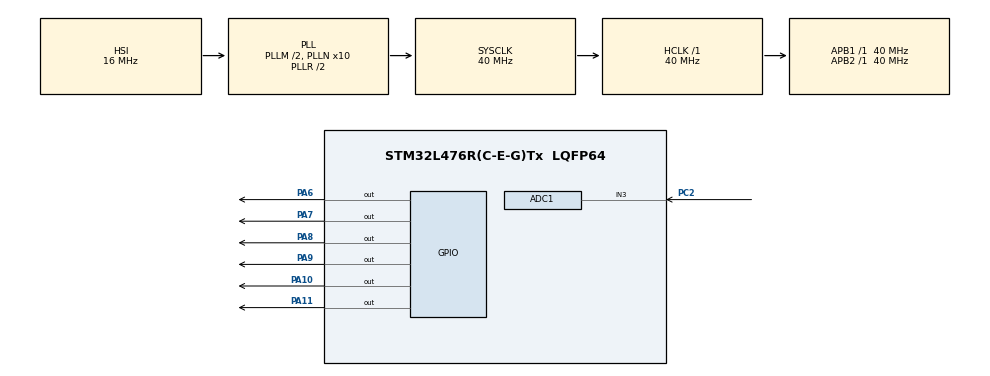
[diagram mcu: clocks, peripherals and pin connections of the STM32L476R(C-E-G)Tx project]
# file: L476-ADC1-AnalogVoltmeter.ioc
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ADC1.Channel-0\#ChannelRegularConversion=ADC_CHANNEL_3
ADC1.ContinuousConvMode=ENABLE
ADC1.EOCSelection=ADC_EOC_SEQ_CONV
ADC1.NbrOfConversionFlag=1
ADC1.OffsetNumber-0\#ChannelRegularConversion=ADC_OFFSET_NONE
ADC1.Overrun=ADC_OVR_DATA_OVERWRITTEN
ADC1.Rank-0\#ChannelRegularConversion=1
ADC1.SamplingTime-0\#ChannelRegularConversion=ADC_SAMPLETIME_2CYCLES_5
ADC1.master=1
Mcu.Family=STM32L4
Mcu.Name=STM32L476R(C-E-G)Tx
Mcu.Package=LQFP64
NVIC.PriorityGroup=NVIC_PRIORITYGROUP_4
PA10.Signal=GPIO_Output
PA11.Signal=GPIO_Output
PA6.Signal=GPIO_Output
PA7.Signal=GPIO_Output
PA8.Signal=GPIO_Output
PA9.Signal=GPIO_Output
PC2.Signal=ADCx_IN3
ProjectManager.HeapSize=0x200
ProjectManager.StackSize=0x400
ProjectManager.TargetToolchain=STM32CubeIDE
RCC.ADCFreq_Value=32000000
RCC.AHBFreq_Value=40000000
RCC.APB1Freq_Value=40000000
RCC.APB1TimFreq_Value=40000000
RCC.APB2Freq_Value=40000000
RCC.APB2TimFreq_Value=40000000
RCC.CortexFreq_Value=40000000
RCC.HCLKFreq_Value=40000000
RCC.HSE_VALUE=8000000
RCC.HSI_VALUE=16000000
RCC.MSI_VALUE=4000000
RCC.PLLM=2
RCC.PLLN=10
RCC.PLLSourceVirtual=RCC_PLLSOURCE_HSI
RCC.PREFETCH_ENABLE=1
RCC.SYSCLKFreq_VALUE=40000000
RCC.SYSCLKSource=RCC_SYSCLKSOURCE_PLLCLK
RCC.USBFreq_Value=32000000
RCC.VCOOutputFreq_Value=80000000
SH.ADCx_IN3.0=ADC1_IN3,IN3-Single-Ended
board=NUCLEO-L476RG

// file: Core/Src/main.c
/* USER CODE BEGIN Header */
/**
  ******************************************************************************
  * @file           : main.c
  * @brief          : Main program body
  ******************************************************************************
  * @attention
  *
  * Copyright (c) 2026 STMicroelectronics.
  * All rights reserved.
  *
  * This software is licensed under terms that can be found in the LICENSE file
  * in the root directory of this software component.
  * If no LICENSE file comes with this software, it is provided AS-IS.
  *
  ******************************************************************************
  */
/* USER CODE END Header */
#include "main.h"

/* USER CODE BEGIN Includes */
#include "lcd.h"
#include "stdio.h"

uint32_t adcResult =0;

/* USER CODE END Includes */

ADC_HandleTypeDef hadc1;

void SystemClock_Config(void);
static void MX_GPIO_Init(void);
static void MX_ADC1_Init(void);

int main(void)
{

  /* MCU Configuration--------------------------------------------------------*/

  /* Reset of all peripherals, Initializes the Flash interface and the Systick. */
  HAL_Init();

  /* Configure the system clock */
  SystemClock_Config();

  /* Initialize all configured peripherals */
  MX_GPIO_Init();
  MX_ADC1_Init();
  /* USER CODE BEGIN 2 */
  lcd_Init();
//  lcd_Puts("hello");
  /* USER CODE END 2 */

  /* Infinite loop */
  /* USER CODE BEGIN WHILE */
  float mv; // store the converted data in millvolts
  char buff[16]; //string buffer
  HAL_ADC_Start(&hadc1);
  while (1)
  {
	  //ADC conversion
	  HAL_ADC_PollForConversion(&hadc1,100);
	  adcResult=HAL_ADC_GetValue(&hadc1);

	  mv=((float)adcResult)*3300.0/4095.0;

	  //display value on LCD
	  lcd_Clear();
	  lcd_Puts("Voltmeter");
	  lcd_Goto(0,1);

	  int mv_int = (int)(mv* 100);
	  sprintf(buff, "%d.%02d", mv_int/100, mv_int%100);
//	  sprintf(buff, "%7.2f", mv);

	  lcd_Puts(buff);
	  HAL_Delay(2000);
    /* USER CODE END WHILE */

  }
}

void SystemClock_Config(void)
{
  RCC_OscInitTypeDef RCC_OscInitStruct = {0};
  RCC_ClkInitTypeDef RCC_ClkInitStruct = {0};

  /** Configure the main internal regulator output voltage
  */
  if (HAL_PWREx_ControlVoltageScaling(PWR_REGULATOR_VOLTAGE_SCALE1) != HAL_OK)
  {
    Error_Handler();
  }

  /** Initializes the RCC Oscillators according to the specified parameters
  * in the RCC_OscInitTypeDef structure.
  */
  RCC_OscInitStruct.OscillatorType = RCC_OSCILLATORTYPE_HSI;
  RCC_OscInitStruct.HSIState = RCC_HSI_ON;
  RCC_OscInitStruct.HSICalibrationValue = RCC_HSICALIBRATION_DEFAULT;
  RCC_OscInitStruct.PLL.PLLState = RCC_PLL_ON;
  RCC_OscInitStruct.PLL.PLLSource = RCC_PLLSOURCE_HSI;
  RCC_OscInitStruct.PLL.PLLM = 2;
  RCC_OscInitStruct.PLL.PLLN = 10;
  RCC_OscInitStruct.PLL.PLLP = RCC_PLLP_DIV7;
  RCC_OscInitStruct.PLL.PLLQ = RCC_PLLQ_DIV2;
  RCC_OscInitStruct.PLL.PLLR = RCC_PLLR_DIV2;
  if (HAL_RCC_OscConfig(&RCC_OscInitStruct) != HAL_OK)
  {
    Error_Handler();
  }

  /** Initializes the CPU, AHB and APB buses clocks
  */
  RCC_ClkInitStruct.ClockType = RCC_CLOCKTYPE_HCLK|RCC_CLOCKTYPE_SYSCLK
                              |RCC_CLOCKTYPE_PCLK1|RCC_CLOCKTYPE_PCLK2;
  RCC_ClkInitStruct.SYSCLKSource = RCC_SYSCLKSOURCE_PLLCLK;
  RCC_ClkInitStruct.AHBCLKDivider = RCC_SYSCLK_DIV1;
  RCC_ClkInitStruct.APB1CLKDivider = RCC_HCLK_DIV1;
  RCC_ClkInitStruct.APB2CLKDivider = RCC_HCLK_DIV1;

  if (HAL_RCC_ClockConfig(&RCC_ClkInitStruct, FLASH_LATENCY_2) != HAL_OK)
  {
    Error_Handler();
  }
}

static void MX_ADC1_Init(void)
{

  ADC_MultiModeTypeDef multimode = {0};
  ADC_ChannelConfTypeDef sConfig = {0};

  /** Common config
  */
  hadc1.Instance = ADC1;
  hadc1.Init.ClockPrescaler = ADC_CLOCK_ASYNC_DIV1;
  hadc1.Init.Resolution = ADC_RESOLUTION_12B;
  hadc1.Init.DataAlign = ADC_DATAALIGN_RIGHT;
  hadc1.Init.ScanConvMode = ADC_SCAN_DISABLE;
  hadc1.Init.EOCSelection = ADC_EOC_SEQ_CONV;
  hadc1.Init.LowPowerAutoWait = DISABLE;
  hadc1.Init.ContinuousConvMode = ENABLE;
  hadc1.Init.NbrOfConversion = 1;
  hadc1.Init.DiscontinuousConvMode = DISABLE;
  hadc1.Init.ExternalTrigConv = ADC_SOFTWARE_START;
  hadc1.Init.ExternalTrigConvEdge = ADC_EXTERNALTRIGCONVEDGE_NONE;
  hadc1.Init.DMAContinuousRequests = DISABLE;
  hadc1.Init.Overrun = ADC_OVR_DATA_OVERWRITTEN;
  hadc1.Init.OversamplingMode = DISABLE;
  if (HAL_ADC_Init(&hadc1) != HAL_OK)
  {
    Error_Handler();
  }

  /** Configure the ADC multi-mode
  */
  multimode.Mode = ADC_MODE_INDEPENDENT;
  if (HAL_ADCEx_MultiModeConfigChannel(&hadc1, &multimode) != HAL_OK)
  {
    Error_Handler();
  }

  /** Configure Regular Channel
  */
  sConfig.Channel = ADC_CHANNEL_3;
  sConfig.Rank = ADC_REGULAR_RANK_1;
  sConfig.SamplingTime = ADC_SAMPLETIME_2CYCLES_5;
  sConfig.SingleDiff = ADC_SINGLE_ENDED;
  sConfig.OffsetNumber = ADC_OFFSET_NONE;
  sConfig.Offset = 0;
  if (HAL_ADC_ConfigChannel(&hadc1, &sConfig) != HAL_OK)
  {
    Error_Handler();
  }

}

static void MX_GPIO_Init(void)
{
  GPIO_InitTypeDef GPIO_InitStruct = {0};

  /* GPIO Ports Clock Enable */
  __HAL_RCC_GPIOC_CLK_ENABLE();
  __HAL_RCC_GPIOA_CLK_ENABLE();

  /*Configure GPIO pin Output Level */
  HAL_GPIO_WritePin(GPIOA, GPIO_PIN_6|GPIO_PIN_7|GPIO_PIN_8|GPIO_PIN_9
                          |GPIO_PIN_10|GPIO_PIN_11, GPIO_PIN_RESET);

  /*Configure GPIO pins : PA6 PA7 PA8 PA9
                           PA10 PA11 */
  GPIO_InitStruct.Pin = GPIO_PIN_6|GPIO_PIN_7|GPIO_PIN_8|GPIO_PIN_9
                          |GPIO_PIN_10|GPIO_PIN_11;
  GPIO_InitStruct.Mode = GPIO_MODE_OUTPUT_PP;
  GPIO_InitStruct.Pull = GPIO_NOPULL;
  GPIO_InitStruct.Speed = GPIO_SPEED_FREQ_LOW;
  HAL_GPIO_Init(GPIOA, &GPIO_InitStruct);

}

void Error_Handler(void)
{
  __disable_irq();
  while (1)
  {
  }
}
